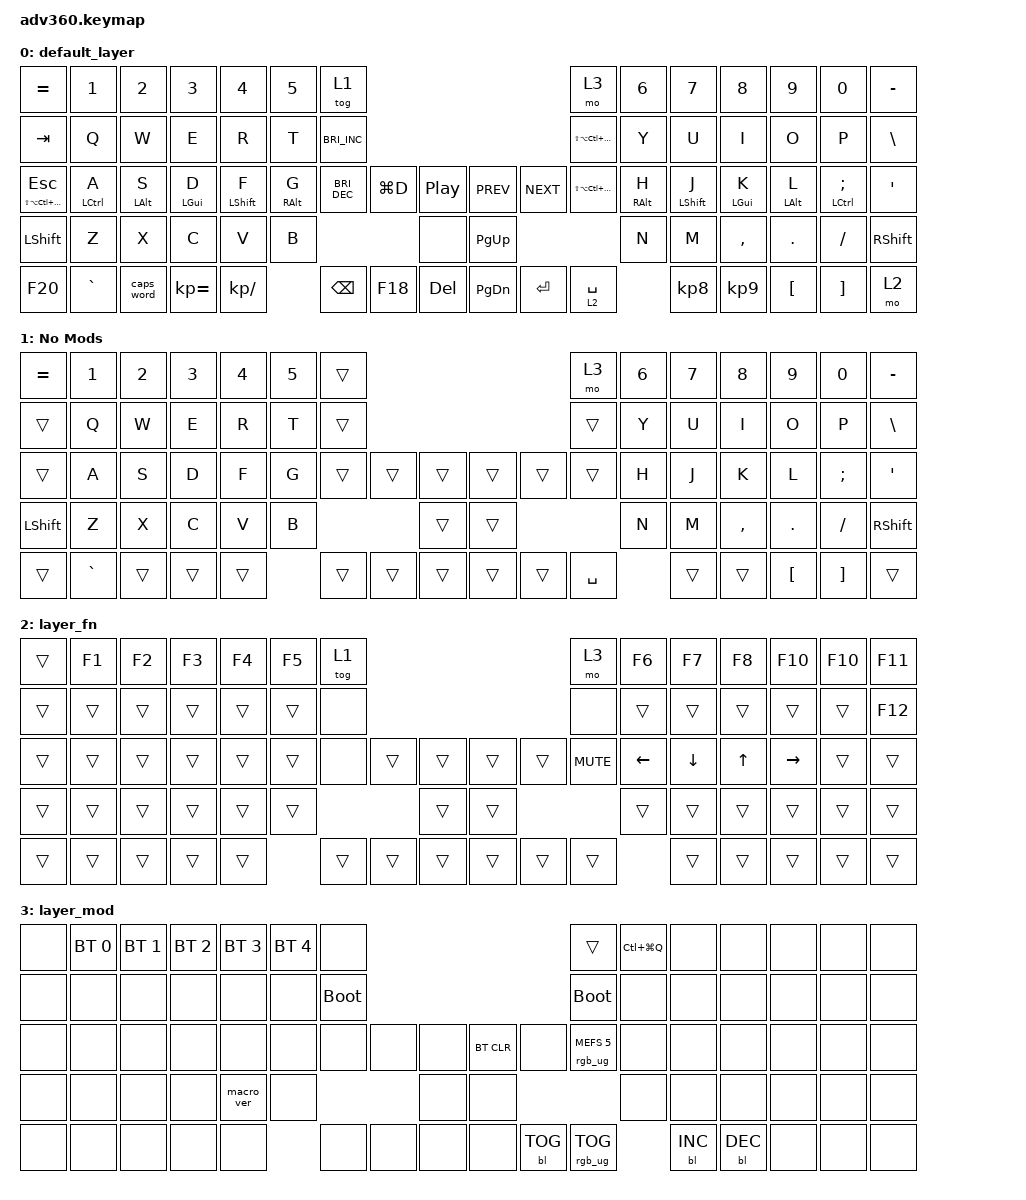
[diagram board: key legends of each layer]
/*
 * Copyright (c) 2020 The ZMK Contributors
 *
 * SPDX-License-Identifier: MIT
 */
/* THIS FILE WAS GENERATED!
 *
 * This file was generated automatically. You may or may not want to
 * edit it directly.
 */

#include <behaviors.dtsi>
#include <dt-bindings/zmk/backlight.h>
#include <dt-bindings/zmk/bt.h>
#include <dt-bindings/zmk/keys.h>
#include <dt-bindings/zmk/rgb.h>

#define HM_TAPPING_TERM 300
#define HM_TAPPING_TERM_FAST 200
#define HM_PRIOR_IDLE 150

// homerow mods:
// 1. https://github.com/urob/zmk-config?tab=readme-ov-file#timeless-homerow-mods
// 2. https://github.com/infused-kim/zmk-config/blob/chocofi/main/config/includes/behaviours_homerow_mods.dtsi

/ {
    behaviors {
        #include "macros.dtsi"
    #include "version.dtsi"

        hm: homerow_mods {
            compatible = "zmk,behavior-hold-tap";
            label = "HOMEROW_MODS";
            #binding-cells = <2>;
            tapping-term-ms = <200>;
            quick_tap_ms = <175>;
            flavor = "tap-preferred";
            bindings = <&kp>, <&kp>;
        };

        hm_l: homerow_mods_left {
            compatible = "zmk,behavior-hold-tap";
            label = "HOMEROW_MODS_LEFT";
            bindings = <&kp>, <&kp>;

            #binding-cells = <2>;
            tapping-term-ms = <HM_TAPPING_TERM>;
            require-prior-idle-ms = <HM_PRIOR_IDLE>;
            flavor = "balanced";
            hold-trigger-key-positions = <52 65 66 67 35 36 37 38 52 53 66 67 68 69 70 7 8 9 10 11 12 13 21 22 23 24 25 26 27 38 39 40 41 42 43 44 45 54 55 56 57 58 59 71 72 73 74 75>;
            quick-tap-ms = <175>;
            hold-trigger-on-release;
        };

        hm_r: homerow_mods_right {
            compatible = "zmk,behavior-hold-tap";
            label = "HOMEROW_MODS_RIGHT";
            bindings = <&kp>, <&kp>;

            #binding-cells = <2>;
            tapping-term-ms = <HM_TAPPING_TERM>;
            require-prior-idle-ms = <HM_PRIOR_IDLE>;
            flavor = "balanced";
            hold-trigger-key-positions = <35 36 37 38 52 53 66 67 68 69 70 5 6 19 20 0 1 2 3 4 5 6 14 15 16 17 18 19 20 28 29 30 31 32 33 34 35 36 46 47 48 49 50 51 52 60 61 62 63 64 65 66 67>;
            quick-tap-ms = <175>;
            hold-trigger-on-release;
        };

        hm_shift_l: homerow_mods_shift_left {
            compatible = "zmk,behavior-hold-tap";
            label = "HOMEROW_MODS_SHIFT_LEFT";
            bindings = <&kp>, <&kp>;

            #binding-cells = <2>;
            tapping-term-ms = <HM_TAPPING_TERM_FAST>;
            require-prior-idle-ms = <HM_PRIOR_IDLE>;
            flavor = "balanced";
            hold-trigger-key-positions = <52 65 66 67 35 36 37 38 52 53 66 67 68 69 70 7 8 9 10 11 12 13 21 22 23 24 25 26 27 38 39 40 41 42 43 44 45 54 55 56 57 58 59 71 72 73 74 75>;
            quick-tap-ms = <175>;

            // hold-trigger-on-release;
        };

        hm_shift_r: homerow_mods_shift_right {
            compatible = "zmk,behavior-hold-tap";
            label = "HOMEROW_MODS_SHIFT_RIGHT";
            bindings = <&kp>, <&kp>;

            #binding-cells = <2>;
            tapping-term-ms = <HM_TAPPING_TERM_FAST>;
            require-prior-idle-ms = <HM_PRIOR_IDLE>;
            flavor = "balanced";
            hold-trigger-key-positions = <35 36 37 38 52 53 66 67 68 69 70 5 6 19 20 0 1 2 3 4 5 6 14 15 16 17 18 19 20 28 29 30 31 32 33 34 35 36 46 47 48 49 50 51 52 60 61 62 63 64 65 66 67>;
            quick-tap-ms = <175>;

            // hold-trigger-on-release;
        };
    };

    keymap {
        compatible = "zmk,keymap";

        default_layer {
            bindings = <
&kp EQUAL                                 &kp N1         &kp N2        &kp N3        &kp N4         &kp N5        &tog 1                                                                         &mo 3                                      &kp N6        &kp N7         &kp N8        &kp N9        &kp N0            &kp MINUS
&kp TAB                                   &kp Q          &kp W         &kp E         &kp R          &kp T         &kp C_BRIGHTNESS_INC                                                           &kp LS(LA(LC(LG(RS(RA(RC(RG(EQUAL))))))))  &kp Y         &kp U          &kp I         &kp O         &kp P             &kp BSLH
&mt LS(LA(LC(LG(RS(RA(RC(RGUI))))))) ESC  &hm_l LCTRL A  &hm_l LALT S  &hm_l LGUI D  &hm_l LSHFT F  &hm_l RALT G  &kp C_BRIGHTNESS_DEC  &kp LG(D)  &kp C_PLAY_PAUSE      &kp C_PREV  &kp C_NEXT  &kp LS(LA(LC(LG(RS(RA(RC(RG(MINUS))))))))  &hm_r RALT H  &hm_r LSHFT J  &hm_r LGUI K  &hm_r LALT L  &hm_r LCTRL SEMI  &kp SQT
&kp LEFT_SHIFT                            &kp Z          &kp X         &kp C         &kp V          &kp B                                          &none                 &kp PG_UP                                                          &kp N         &kp M          &kp COMMA     &kp DOT       &kp FSLH          &kp RIGHT_SHIFT
&kp F20                                   &kp GRAVE      &caps_word    &kp KP_EQUAL  &kp KP_DIVIDE                &kp BSPC              &kp F18    &kp DEL               &kp PG_DN   &kp ENTER   &lt 2 SPACE                                              &kp KP_N8      &kp KP_N9     &kp LBKT      &kp RBKT          &mo 2
            >;
        };

        layer_nomods {
            bindings = <
&kp EQUAL  &kp N1     &kp N2  &kp N3  &kp N4  &kp N5  &trans                                      &mo 3      &kp N6  &kp N7  &kp N8     &kp N9            &kp N0         &kp MINUS
&trans     &kp Q      &kp W   &kp E   &kp R   &kp T   &trans                                      &trans     &kp Y   &kp U   &kp I      &kp O             &kp P          &kp BSLH
&trans     &kp A      &kp S   &kp D   &kp F   &kp G   &trans  &trans  &trans      &trans  &trans  &trans     &kp H   &kp J   &kp K      &kp L             &kp SEMICOLON  &kp SQT
&kp LSHFT  &kp Z      &kp X   &kp C   &kp V   &kp B                   &trans      &trans                     &kp N   &kp M   &kp COMMA  &kp PERIOD        &kp SLASH      &kp RSHFT
&trans     &kp GRAVE  &trans  &trans  &trans          &trans  &trans  &trans      &trans  &trans  &kp SPACE          &trans  &trans     &kp LEFT_BRACKET  &kp RBKT       &trans
            >;

            label = "No Mods";
        };

        layer_fn {
            bindings = <
&trans  &kp F1  &kp F2  &kp F3  &kp F4  &kp F5  &tog 1                                      &mo 3       &kp F6    &kp F7    &kp F8        &kp F10    &kp F10  &kp F11
&trans  &trans  &trans  &trans  &trans  &trans  &none                                       &none       &trans    &trans    &trans        &trans     &trans   &kp F12
&trans  &trans  &trans  &trans  &trans  &trans  &none   &trans  &trans      &trans  &trans  &kp C_MUTE  &kp LEFT  &kp DOWN  &kp UP_ARROW  &kp RIGHT  &trans   &trans
&trans  &trans  &trans  &trans  &trans  &trans                  &trans      &trans                      &trans    &trans    &trans        &trans     &trans   &trans
&trans  &trans  &trans  &trans  &trans          &trans  &trans  &trans      &trans  &trans  &trans                &trans    &trans        &trans     &trans   &trans
            >;
        };

        layer_mod {
            bindings = <
&none  &bt BT_SEL 0  &bt BT_SEL 1  &bt BT_SEL 2  &bt BT_SEL 3  &bt BT_SEL 4  &none                                                  &trans                  &kp LC(LG(Q))  &none       &none       &none  &none  &none
&none  &none         &none         &none         &none         &none         &bootloader                                            &bootloader             &none          &none       &none       &none  &none  &none
&none  &none         &none         &none         &none         &none         &none        &none  &none      &bt BT_CLR  &none       &rgb_ug RGB_MEFS_CMD 5  &none          &none       &none       &none  &none  &none
&none  &none         &none         &none         &macro_ver    &none                             &none      &none                                           &none          &none       &none       &none  &none  &none
&none  &none         &none         &none         &none                       &none        &none  &none      &none       &bl BL_TOG  &rgb_ug RGB_TOG                        &bl BL_INC  &bl BL_DEC  &none  &none  &none
            >;
        };
    };
};
